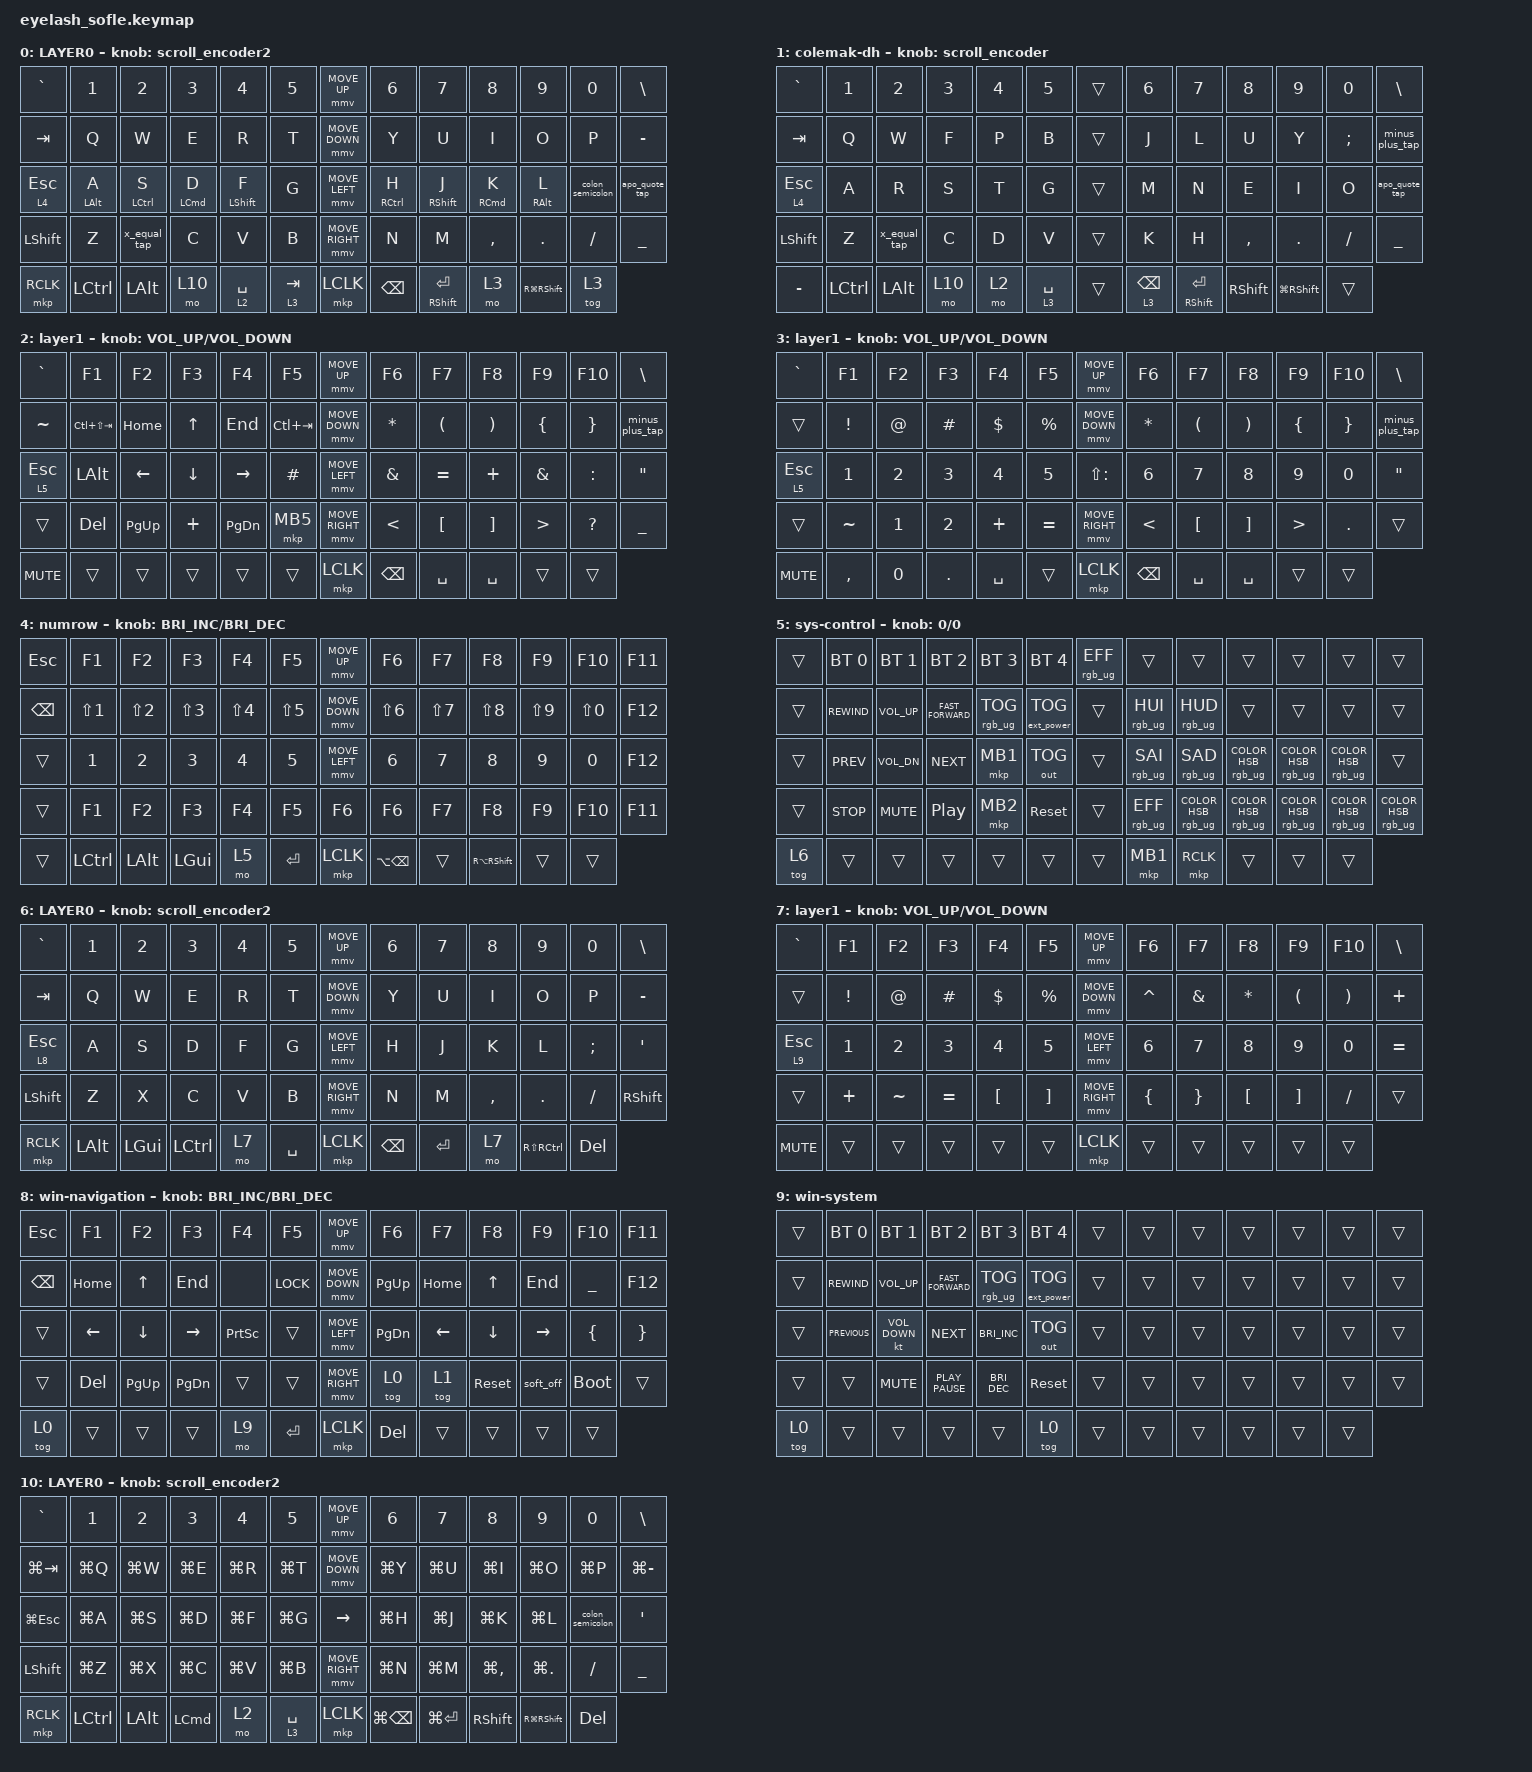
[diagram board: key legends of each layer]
#define ZMK_POINTING_DEFAULT_MOVE_VAL 1200  // 600
#define ZMK_POINTING_DEFAULT_SCRL_VAL 25   // 10

#include <input/processors.dtsi>
#include <zephyr/dt-bindings/input/input-event-codes.h>
#include <behaviors.dtsi>
#include <dt-bindings/zmk/bt.h>
#include <dt-bindings/zmk/ext_power.h>
#include <dt-bindings/zmk/keys.h>
#include <dt-bindings/zmk/outputs.h>
#include <dt-bindings/zmk/pointing.h>
#include <dt-bindings/zmk/rgb.h>

&mmv_input_listener { input-processors = <&zip_xy_scaler 2 1>; };

&msc_input_listener { input-processors = <&zip_scroll_scaler 2 1>; };

&msc {
    acceleration-exponent = <10>;      // 0
    time-to-max-speed-ms = <50>;       // 300
    delay-ms = <(-25)>;                   // 0
    trigger-period-ms = <10>;
};

&mmv {
    time-to-max-speed-ms = <650>;
    acceleration-exponent = <2>;
    trigger-period-ms = <0>;
    delay-ms = <0>;
};

&lt {
    tapping-term-ms = <125>;
    flavor = "hold-preferred";
    bindings = <&mo>, <&kp>;
};

/ {
    scroll_encoder: scroll_encoder {
        compatible = "zmk,behavior-sensor-rotate";
        #sensor-binding-cells = <0>;
        bindings = <&msc SCRL_DOWN>, <&msc SCRL_UP>;

        tap-ms = <100>;
    };

    scroll_encoder2: scroll_encoder2 {
        compatible = "zmk,behavior-sensor-rotate";
        #sensor-binding-cells = <0>;
        bindings = <&msc SCRL_DOWN>, <&msc SCRL_UP>;

        tap-ms = <25>;
        label = "SCROLL_ENCODER2";
    };

    dash_tap: dash_tap {
        compatible = "zmk,behavior-tap-dance";
        label = "DASH_TAP";
        #binding-cells = <0>;
        bindings = <&kp MINUS>, <&kp EQUAL>;

        tapping-term-ms = <150>;
    };

    slash_tap: slash_tap {
        compatible = "zmk,behavior-tap-dance";
        label = "SLASH_TAP";
        #binding-cells = <0>;
        tapping-term-ms = <200>;
        bindings = <&kp SLASH>, <&kp PIPE>, <&kp BACKSLASH>;
    };

    left_bracket: left_bracket {
        compatible = "zmk,behavior-tap-dance";
        label = "LEFT_BRACKET";
        #binding-cells = <0>;
        tapping-term-ms = <75>;
        bindings = <&kp LEFT_PARENTHESIS>, <&kp LEFT_BRACKET>, <&kp LEFT_BRACE>;
    };

    right_bracket: right_bracket {
        compatible = "zmk,behavior-tap-dance";
        label = "RIGHT_BRACKET";
        #binding-cells = <0>;
        tapping-term-ms = <75>;
        bindings =
            <&kp RIGHT_PARENTHESIS>,
            <&kp RIGHT_BRACKET>,
            <&kp RIGHT_BRACE>;
    };

    colon_semicolon: colon_semicolon {
        compatible = "zmk,behavior-tap-dance";
        label = "COLON_SEMICOLON";
        #binding-cells = <0>;
        bindings = <&kp COLON>, <&kp SEMI>;

        tapping-term-ms = <165>;
    };

    x_equal_tap: x_equal_tap {
        compatible = "zmk,behavior-tap-dance";
        label = "X_EQUAL_TAP";
        #binding-cells = <0>;
        tapping-term-ms = <225>;
        bindings = <&kp X>, <&kp EQUAL>;
    };

    minus_plus_tap: minus_plus_tap {
        compatible = "zmk,behavior-tap-dance";
        label = "MINUS_PLUS_TAP";
        #binding-cells = <0>;
        tapping-term-ms = <225>;
        bindings = <&kp MINUS>, <&kp PLUS>;
    };

    gravetap: gravetap {
        compatible = "zmk,behavior-tap-dance";
        label = "GRAVETAP";
        #binding-cells = <0>;
        bindings = <&kp GRAVE>, <&kp LG(RG(ESCAPE))>;

        tapping-term-ms = <150>;
    };

    HMR: HMR {
        compatible = "zmk,behavior-hold-tap";
        label = "HMR";
        bindings = <&kp>, <&kp>;

        #binding-cells = <2>;
        flavor = "balanced";
        quick-tap-ms = <175>;
        hold-trigger-key-positions = <0 1 3 2 4 5 18 31 44 56 57 55 43 30 17 13 14 15 16 26 27 28 29 39 40 41 42 53 54>;
        hold-trigger-on-release;
        tapping-term-ms = <175>;
        require-prior-idle-ms = <100>;
    };

    HML: HML {
        compatible = "zmk,behavior-hold-tap";
        label = "HML";
        bindings = <&kp>, <&kp>;

        #binding-cells = <2>;
        flavor = "balanced";
        quick-tap-ms = <175>;
        hold-trigger-on-release;
        tapping-term-ms = <175>;
        hold-trigger-key-positions = <7 8 9 10 11 12 20 21 22 23 24 25 33 34 35 36 37 38 46 47 48 49 50 51 61 62 63 59 60>;
        require-prior-idle-ms = <100>;
    };

    tap_preferred_layertap: tap_preferred_layertap {
        compatible = "zmk,behavior-hold-tap";
        label = "TAP_PREFERRED_LAYERTAP";
        bindings = <&mo>, <&kp>;

        #binding-cells = <2>;
        flavor = "tap-preferred";
        tapping-term-ms = <150>;
    };

    tap_preferred_modkey: tap_preferred_modkey {
        compatible = "zmk,behavior-hold-tap";
        label = "TAP_PREFERRED_MODKEY";
        bindings = <&kp>, <&kp>;

        #binding-cells = <2>;
        tapping-term-ms = <150>;
        flavor = "tap-preferred";
    };

    apo_quote_tap: apo_quote_tap {
        compatible = "zmk,behavior-tap-dance";
        label = "APO_QUOTE_TAP";
        #binding-cells = <0>;
        bindings = <&kp SQT>, <&kp DOUBLE_QUOTES>;

        tapping-term-ms = <225>;
    };

    macros {
        email: email {
            compatible = "zmk,behavior-macro";
            #binding-cells = <0>;
            bindings = <&none &kp A &kp N &kp D &kp R &kp I &kp U &kp S &kp DOT &kp B &kp E &kp R &kp N &kp A &kp T &kp A &kp V &kp I &kp C &kp I &kp U &kp S &kp AT &kp G &kp M &kp A &kp I &kp L &kp DOT &kp C &kp O &kp M>;
            label = "EMAIL";
        };

        LIACSMail: LIACSMail {
            compatible = "zmk,behavior-macro";
            #binding-cells = <0>;
            bindings = <&none &kp A &kp DOT &kp B &kp E &kp R &kp N &kp A &kp T &kp A &kp V &kp I &kp C &kp I &kp U &kp S &kp AT &kp L &kp I &kp A &kp C &kp S &kp DOT &kp L &kp E &kp I &kp D &kp E &kp N &kp U &kp N &kp I &kp V &kp DOT &kp N &kp L>;
            label = "LIACSMAIL";
        };

        vscode_menu_mac: vscode_menu {
            compatible = "zmk,behavior-macro";
            #binding-cells = <0>;
            bindings = <&kp RS(RG(P))>;
            label = "VSCODE_MENU";
        };
    };

    behaviors {
    };

    combos {
        compatible = "zmk,combos";

        cmdshiftp {
            bindings = <&kp LG(LS(P))>;
            key-positions = <0 1>;
        };

        NumLayer {
            bindings = <&none>;
            key-positions = <43 44>;
        };

        QWERTY-Toggle {
            bindings = <&tog 0>;
            key-positions = <0 1 11 12>;
        };

        colemak-toggle {
            bindings = <&tog 1>;
            key-positions = <4 5 7 8>;
        };

        num_toggle {
            bindings = <&tog 3>;
            key-positions = <42 43 44>;
        };

        semicolor_combo {
            bindings = <&kp SEMI>;
            key-positions = <48 49>;
        };

        escape_tap_l {
            bindings = <&kp ESCAPE>;
            key-positions = <28 29 30>;
        };

        escape_tap_r {
            bindings = <&kp ESCAPE>;
            key-positions = <34 35 36>;
        };
    };

    keymap {
        compatible = "zmk,keymap";

        Mac-QWERTY {
            bindings = <
&kp GRAVE     &kp NUMBER_1     &kp NUMBER_2  &kp NUMBER_3         &kp NUMBER_4                     &kp NUMBER_5    &mmv MOVE_UP     &kp NUMBER_6   &kp NUMBER_7                             &kp NUMBER_8          &kp NUMBER_9         &kp NUMBER_0      &kp BACKSLASH
&kp TAB       &kp Q            &kp W         &kp E                &kp R                            &kp T           &mmv MOVE_DOWN   &kp Y          &kp U                                    &kp I                 &kp O                &kp P             &kp MINUS
&lt 4 ESCAPE  &HML LEFT_ALT A  &HML LCTRL S  &HML LEFT_COMMAND D  &HML LEFT_SHIFT F                &kp G           &mmv MOVE_LEFT   &HMR RCTRL H   &HMR RIGHT_SHIFT J                       &HMR RIGHT_COMMAND K  &HMR RIGHT_ALT L     &colon_semicolon  &apo_quote_tap
&kp LSHFT     &kp Z            &x_equal_tap  &kp C                &kp V                            &kp B           &mmv MOVE_RIGHT  &kp N          &kp M                                    &kp COMMA             &kp DOT              &kp SLASH         &kp UNDER
&mkp RCLK     &kp LCTRL        &kp LEFT_ALT  &mo 10               &tap_preferred_layertap 2 SPACE  &lt 3 TAB       &mkp LCLK        &kp BACKSPACE  &tap_preferred_modkey RIGHT_SHIFT ENTER  &mo 3                 &kp RG(RIGHT_SHIFT)  &tog 3
            >;

            sensor-bindings = <&scroll_encoder2>;
            display-name = "LAYER0";
        };

        colemak-dh {
            bindings = <
&kp GRAVE     &kp N1     &kp N2        &kp N3  &kp N4  &kp N5                             &trans  &kp N6                               &kp N7                                   &kp N8     &kp N9         &kp N0    &kp BSLH
&kp TAB       &kp Q      &kp W         &kp F   &kp P   &kp B                              &trans  &kp J                                &kp L                                    &kp U      &kp Y          &kp SEMI  &minus_plus_tap
&lt 4 ESCAPE  &kp A      &kp R         &kp S   &kp T   &kp G                              &trans  &kp M                                &kp N                                    &kp E      &kp I          &kp O     &apo_quote_tap
&kp LSHFT     &kp Z      &x_equal_tap  &kp C   &kp D   &kp V                              &trans  &kp K                                &kp H                                    &kp COMMA  &kp DOT        &kp FSLH  &kp UNDERSCORE
&kp MINUS     &kp LCTRL  &kp LALT      &mo 10  &mo 2   &tap_preferred_layertap 3 SPACE    &trans  &tap_preferred_layertap 3 BACKSPACE  &tap_preferred_modkey RIGHT_SHIFT ENTER  &kp RSHFT  &kp LG(RSHFT)  &trans
            >;

            sensor-bindings = <&scroll_encoder>;
        };

        symbols {
            bindings = <
&kp GRAVE     &kp F1           &kp F2          &kp F3        &kp F4         &kp F5         &mmv MOVE_UP     &kp F6         &kp F7                &kp F8                 &kp F9            &kp F10          &kp BACKSLASH
&kp TILDE     &kp LC(LS(TAB))  &kp HOME        &kp UP_ARROW  &kp END        &kp LC(TAB)    &mmv MOVE_DOWN   &kp ASTERISK   &kp LEFT_PARENTHESIS  &kp RIGHT_PARENTHESIS  &kp LEFT_BRACE    &kp RIGHT_BRACE  &minus_plus_tap
&lt 5 ESCAPE  &kp LEFT_ALT     &kp LEFT_ARROW  &kp DOWN      &kp RIGHT      &kp HASH       &mmv MOVE_LEFT   &kp AMPS       &kp EQUAL             &kp PLUS               &kp AMPERSAND     &kp COLON        &kp DOUBLE_QUOTES
&trans        &kp DELETE       &kp PAGE_UP     &kp PLUS      &kp PAGE_DOWN  &mkp MB5       &mmv MOVE_RIGHT  &kp LESS_THAN  &kp LEFT_BRACKET      &kp RIGHT_BRACKET      &kp GREATER_THAN  &kp QUESTION     &kp UNDER
&kp C_MUTE    &trans           &trans          &trans        &trans         &trans         &mkp LCLK        &kp BACKSPACE  &kp SPACE             &kp SPACE              &trans            &trans
            >;

            display-name = "layer1";
            sensor-bindings = <&inc_dec_kp C_VOLUME_UP C_VOLUME_DOWN>;
        };

        Numerical {
            display-name = "layer1";
            bindings = <
&kp GRAVE     &kp F1     &kp F2        &kp F3        &kp F4      &kp F5         &mmv MOVE_UP     &kp F6         &kp F7                &kp F8                 &kp F9            &kp F10          &kp BACKSLASH
&trans        &kp EXCL   &kp AT        &kp HASH      &kp DOLLAR  &kp PERCENT    &mmv MOVE_DOWN   &kp ASTERISK   &kp LEFT_PARENTHESIS  &kp RIGHT_PARENTHESIS  &kp LEFT_BRACE    &kp RIGHT_BRACE  &minus_plus_tap
&lt 5 ESCAPE  &kp N1     &kp N2        &kp N3        &kp N4      &kp N5         &kp LS(COLON)    &kp N6         &kp N7                &kp N8                 &kp N9            &kp N0           &kp DOUBLE_QUOTES
&trans        &kp TILDE  &kp NUMBER_1  &kp NUMBER_2  &kp PLUS    &kp EQUAL      &mmv MOVE_RIGHT  &kp LESS_THAN  &kp LEFT_BRACKET      &kp RIGHT_BRACKET      &kp GREATER_THAN  &kp DOT          &trans
&kp C_MUTE    &kp COMMA  &kp NUMBER_0  &kp PERIOD    &kp SPACE   &trans         &mkp LCLK        &kp BACKSPACE  &kp SPACE             &kp SPACE              &trans            &trans
            >;

            sensor-bindings = <&inc_dec_kp C_VOLUME_UP C_VOLUME_DOWN>;
        };

        numrow {
            bindings = <
&kp ESCAPE     &kp F1      &kp F2      &kp F3      &kp F4      &kp F5        &mmv MOVE_UP    &kp F6             &kp F7      &kp F8               &kp F9      &kp F10     &kp F11
&kp BACKSPACE  &kp LS(N1)  &kp LS(N2)  &kp LS(N3)  &kp LS(N4)  &kp LS(N5)    &mmv MOVE_DOWN  &kp LS(N6)         &kp LS(N7)  &kp LS(N8)           &kp LS(N9)  &kp LS(N0)  &kp F12
&trans         &kp N1      &kp N2      &kp N3      &kp N4      &kp N5        &mmv MOVE_LEFT  &kp N6             &kp N7      &kp N8               &kp N9      &kp N0      &kp F12
&trans         &kp F1      &kp F2      &kp F3      &kp F4      &kp F5        &kp F6          &kp F6             &kp F7      &kp F8               &kp F9      &kp F10     &kp F11
&trans         &kp LCTRL   &kp LALT    &kp LGUI    &mo 5       &kp ENTER     &mkp LCLK       &kp LA(BACKSPACE)  &trans      &kp RA(RIGHT_SHIFT)  &trans      &trans
            >;

            sensor-bindings = <&inc_dec_kp C_BRIGHTNESS_INC C_BRIGHTNESS_DEC>;
        };

        sys-control {
            bindings = <
&trans  &bt BT_SEL 0  &bt BT_SEL 1  &bt BT_SEL 2        &bt BT_SEL 3     &bt BT_SEL 4         &rgb_ug RGB_EFF  &trans           &trans                            &trans                             &trans                             &trans                            &trans
&trans  &kp C_REWIND  &kp C_VOL_UP  &kp C_FAST_FORWARD  &rgb_ug RGB_TOG  &ext_power EP_TOG    &trans           &rgb_ug RGB_HUI  &rgb_ug RGB_HUD                   &trans                             &trans                             &trans                            &trans
&trans  &kp C_PREV    &kp C_VOL_DN  &kp C_NEXT          &mkp MB1         &out OUT_TOG         &trans           &rgb_ug RGB_SAI  &rgb_ug RGB_SAD                   &rgb_ug RGB_COLOR_HSB(77,74,62)    &rgb_ug RGB_COLOR_HSB(205,100,39)  &rgb_ug RGB_COLOR_HSB(147,99,44)  &trans
&trans  &kp C_STOP    &kp C_MUTE    &kp C_PLAY_PAUSE    &mkp MB2         &sys_reset           &trans           &rgb_ug RGB_EFF  &rgb_ug RGB_COLOR_HSB(169,88,31)  &rgb_ug RGB_COLOR_HSB(286,100,50)  &rgb_ug RGB_COLOR_HSB(237,44,39)   &rgb_ug RGB_COLOR_HSB(32,64,69)   &rgb_ug RGB_COLOR_HSB(5,100,68)
&tog 6  &trans        &trans        &trans              &trans           &trans               &trans           &mkp MB1         &mkp RCLK                         &trans                             &trans                             &trans
            >;

            sensor-bindings = <&inc_dec_kp 0 0>;
        };

        Windows_linux {
            display-name = "LAYER0";
            bindings = <
&kp GRAVE     &kp N1        &kp N2        &kp N3            &kp N4  &kp N5       &mmv MOVE_UP     &kp N6         &kp N7     &kp N8     &kp N9                 &kp N0      &kp BACKSLASH
&kp TAB       &kp Q         &kp W         &kp E             &kp R   &kp T        &mmv MOVE_DOWN   &kp Y          &kp U      &kp I      &kp O                  &kp P       &kp MINUS
&lt 8 ESCAPE  &kp A         &kp S         &kp D             &kp F   &kp G        &mmv MOVE_LEFT   &kp H          &kp J      &kp K      &kp L                  &kp SEMI    &kp APOS
&kp LSHFT     &kp Z         &kp X         &kp C             &kp V   &kp B        &mmv MOVE_RIGHT  &kp N          &kp M      &kp COMMA  &kp DOT                &kp FSLH    &kp RIGHT_SHIFT
&mkp RCLK     &kp LEFT_ALT  &kp LEFT_GUI  &kp LEFT_CONTROL  &mo 7   &kp SPACE    &mkp LCLK        &kp BACKSPACE  &kp ENTER  &mo 7      &kp RS(RIGHT_CONTROL)  &kp DELETE
            >;

            sensor-bindings = <&scroll_encoder2>;
        };

        win-symbols {
            display-name = "layer1";
            bindings = <
&kp GRAVE     &kp F1           &kp F2        &kp F3     &kp F4            &kp F5               &mmv MOVE_UP     &kp F6          &kp F7           &kp F8            &kp F9                &kp F10                &kp BACKSLASH
&trans        &kp EXCLAMATION  &kp AT_SIGN   &kp HASH   &kp DOLLAR        &kp PERCENT          &mmv MOVE_DOWN   &kp CARET       &kp AMPERSAND    &kp ASTERISK      &kp LEFT_PARENTHESIS  &kp RIGHT_PARENTHESIS  &kp PLUS
&lt 9 ESCAPE  &kp NUMBER_1     &kp NUMBER_2  &kp N3     &kp N4            &kp N5               &mmv MOVE_LEFT   &kp N6          &kp N7           &kp N8            &kp N9                &kp N0                 &kp EQUAL
&trans        &kp PLUS         &kp TILDE     &kp EQUAL  &kp LEFT_BRACKET  &kp RIGHT_BRACKET    &mmv MOVE_RIGHT  &kp LEFT_BRACE  &kp RIGHT_BRACE  &kp LEFT_BRACKET  &kp RIGHT_BRACKET     &kp SLASH              &trans
&kp C_MUTE    &trans           &trans        &trans     &trans            &trans               &mkp LCLK        &trans          &trans           &trans            &trans                &trans
            >;

            sensor-bindings = <&inc_dec_kp C_VOLUME_UP C_VOLUME_DOWN>;
        };

        win-navigation {
            bindings = <
&kp ESCAPE     &kp F1          &kp F2          &kp F3           &kp F4           &kp F5        &mmv MOVE_UP     &kp F6         &kp F7          &kp F8          &kp F9           &kp F10      &kp F11
&kp BACKSPACE  &kp HOME        &kp UP_ARROW    &kp END          &none            &kp K_LOCK    &mmv MOVE_DOWN   &kp PAGE_UP    &kp HOME        &kp UP_ARROW    &kp END          &kp UNDER    &kp F12
&trans         &kp LEFT_ARROW  &kp DOWN_ARROW  &kp RIGHT_ARROW  &kp PRINTSCREEN  &trans        &mmv MOVE_LEFT   &kp PAGE_DOWN  &kp LEFT_ARROW  &kp DOWN_ARROW  &kp RIGHT_ARROW  &kp LBRC     &kp RBRC
&trans         &kp DELETE      &kp PAGE_UP     &kp PAGE_DOWN    &trans           &trans        &mmv MOVE_RIGHT  &tog 0         &tog 1          &sys_reset      &soft_off        &bootloader  &trans
&tog 0         &trans          &trans          &trans           &mo 9            &kp ENTER     &mkp LCLK        &kp DELETE     &trans          &trans          &trans           &trans
            >;

            sensor-bindings = <&inc_dec_kp C_BRIGHTNESS_INC C_BRIGHTNESS_DEC>;
        };

        win-system {
            bindings = <
&trans  &bt BT_SEL 0    &bt BT_SEL 1       &bt BT_SEL 2        &bt BT_SEL 3          &bt BT_SEL 4         &trans  &trans  &trans  &trans  &trans  &trans  &trans
&trans  &kp C_REWIND    &kp C_VOLUME_UP    &kp C_FAST_FORWARD  &rgb_ug RGB_TOG       &ext_power EP_TOG    &trans  &trans  &trans  &trans  &trans  &trans  &trans
&trans  &kp K_PREVIOUS  &kt K_VOLUME_DOWN  &kp C_NEXT          &kp C_BRIGHTNESS_INC  &out OUT_TOG         &trans  &trans  &trans  &trans  &trans  &trans  &trans
&trans  &trans          &kp C_MUTE         &kp K_PLAY_PAUSE    &kp C_BRIGHTNESS_DEC  &sys_reset           &trans  &trans  &trans  &trans  &trans  &trans  &trans
&tog 0  &trans          &trans             &trans              &trans                &tog 0               &trans  &trans  &trans  &trans  &trans  &trans
            >;
        };

        COMMAND_LAYER_MAC {
            display-name = "LAYER0";
            bindings = <
&kp GRAVE       &kp NUMBER_1  &kp NUMBER_2  &kp NUMBER_3      &kp NUMBER_4  &kp NUMBER_5    &mmv MOVE_UP     &kp NUMBER_6       &kp NUMBER_7   &kp NUMBER_8     &kp NUMBER_9         &kp NUMBER_0      &kp BACKSLASH
&kp LG(TAB)     &kp LG(Q)     &kp LG(W)     &kp LG(E)         &kp LG(R)     &kp LG(T)       &mmv MOVE_DOWN   &kp LG(Y)          &kp LG(U)      &kp LG(I)        &kp LG(O)            &kp LG(P)         &kp LG(MINUS)
&kp LG(ESCAPE)  &kp LG(A)     &kp LG(S)     &kp LG(D)         &kp LG(F)     &kp LG(G)       &kp RIGHT        &kp LG(H)          &kp LG(J)      &kp LG(K)        &kp LG(L)            &colon_semicolon  &kp APOS
&kp LSHFT       &kp LG(Z)     &kp LG(X)     &kp LG(C)         &kp LG(V)     &kp LG(B)       &mmv MOVE_RIGHT  &kp LG(N)          &kp LG(M)      &kp LG(COMMA)    &kp LG(DOT)          &kp SLASH         &kp UNDER
&mkp RCLK       &kp LCTRL     &kp LEFT_ALT  &kp LEFT_COMMAND  &mo 2         &lt 3 SPACE     &mkp LCLK        &kp LG(BACKSPACE)  &kp LG(ENTER)  &kp RIGHT_SHIFT  &kp RG(RIGHT_SHIFT)  &kp DELETE
            >;

            sensor-bindings = <&scroll_encoder2>;
        };
    };
};
